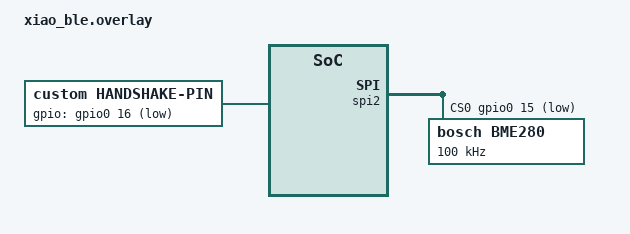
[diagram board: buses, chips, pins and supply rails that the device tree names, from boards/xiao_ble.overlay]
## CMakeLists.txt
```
cmake_minimum_required(VERSION 3.20.0)
find_package(Zephyr REQUIRED HINTS $ENV{ZEPHYR_BASE})

project(nRF_SPI)

find_package(Zephyr REQUIRED HINTS $ENV{ZEPHYR_BASE})
project(gpio_custom_dts_binding)
zephyr_library_include_directories(include)

FILE(GLOB app_sources src/*.c)

target_sources(app PRIVATE
  src/main.c
  src/env_client.c
  src/spi_communication.c
)
```

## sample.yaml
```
sample:
  name: SPI attempt
tests:
  depends_on: gpio
```

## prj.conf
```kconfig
CONFIG_GPIO=y
CONFIG_SPI=y
CONFIG_SERIAL=y
CONFIG_CONSOLE=y
CONFIG_UART_CONSOLE=y
CONFIG_UART_LINE_CTRL=y

CONFIG_NCS_SAMPLES_DEFAULTS=y

CONFIG_HEAP_MEM_POOL_SIZE=16384

CONFIG_BT=y
CONFIG_BT_DEBUG_LOG=y
CONFIG_BT_CENTRAL=y
CONFIG_BT_GATT_CLIENT=y
CONFIG_BT_HRS_CLIENT=y
CONFIG_BT_GATT_DM=y

CONFIG_BT_SCAN=y
CONFIG_BT_SCAN_FILTER_ENABLE=y
CONFIG_BT_SCAN_UUID_CNT=1

CONFIG_BT_CTLR_ADV_EXT=y
CONFIG_BT_CTLR_PHY_CODED=y
CONFIG_BT_CTLR_TX_PWR_ANTENNA=8
CONFIG_BT_EXT_ADV=y
CONFIG_BT_USER_PHY_UPDATE=y

CONFIG_BT_MAX_CONN=20
CONFIG_BT_RX_STACK_SIZE=16384

# USB subsystem configuration
CONFIG_USB_DEVICE_STACK=y
CONFIG_USB_DEVICE_PRODUCT="Zephyr USB Console"
CONFIG_USB_DEVICE_INITIALIZE_AT_BOOT=y
CONFIG_MAIN_STACK_SIZE=8196

CONFIG_BT_SMP=y
CONFIG_BT_SIGNING=y
```

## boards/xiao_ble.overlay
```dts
/*
 * Copyright (c) 2022-2023 Marcin Niestroj
 *
 * SPDX-License-Identifier: Apache-2.0
 */
/ {
    handshake: handshake {
        compatible = "custom,handshake-pin";
        gpios = <&gpio0 16 (GPIO_ACTIVE_LOW | GPIO_PULL_UP)>;
        status = "okay";
    };
};
&spi2 {
	compatible = "nordic,nrf-spim";
	status = "okay";
	pinctrl-0 = <&spi2_default>;
	pinctrl-1 = <&spi2_sleep>;
	pinctrl-names = "default", "sleep";
    cs-gpios = <&gpio0 15 GPIO_ACTIVE_LOW>;
	bme280: bme280@0 {
		compatible = "bosch,bme280";
		reg = <0>;
		spi-max-frequency = <100000>; 
	};
};
&pinctrl {
	spi_master_default: spi_master_default {
		group1 {
			psels = <NRF_PSEL(SPIM_SCK, 1, 13)>,
					<NRF_PSEL(SPIM_MOSI, 1, 15)>,
					<NRF_PSEL(SPIM_MISO, 1, 14)>;
		};
	};

	spi_master_sleep: spi_master_sleep {
		group1 {
			psels = <NRF_PSEL(SPIM_SCK, 1, 13)>,
					<NRF_PSEL(SPIM_MOSI, 1, 15)>,
					<NRF_PSEL(SPIM_MISO, 1, 14)>;
			low-power-enable;
		};
	};
};
```

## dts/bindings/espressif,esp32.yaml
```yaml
description: ESP32-C6 microcontroller

compatible: "espressif,esp32"

include: [sensor-device.yaml, spi-device.yaml]
```

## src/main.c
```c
#include <stdio.h>
#include <string.h>

#include <stdint.h>
#include <zephyr/kernel.h>
#include <zephyr/device.h>

#include <zephyr/devicetree.h>
#include <zephyr/drivers/gpio.h>
#include <zephyr/logging/log.h>
#include <zephyr/drivers/spi.h>
#include <zephyr/sys/printk.h>
#include <zephyr/sys/byteorder.h>
#include <zephyr/sys/mutex.h>
#include <zephyr/drivers/clock_control.h>
#include <zephyr/posix/time.h>
#include <zephyr/bluetooth/bluetooth.h>
#include <zephyr/bluetooth/conn.h>
#include <zephyr/bluetooth/uuid.h>
#include <zephyr/bluetooth/gatt.h>
#include <bluetooth/gatt_dm.h>
#include <bluetooth/scan.h>
#include <zephyr/random/random.h>

#include "env_client.h"  
#include "spi_communication.h"

#define SLEEP_TIME_MS   1000

#define DEVICE_NAME             "Basisstion1"
#define DEVICE_NAME_LEN         (sizeof(DEVICE_NAME) - 1)

#define MAX_CONNECTIONS 20
#define SENSOR_DATA_SIZE 129
#define QUEUE_SIZE 10

#define BT_THREAD_STACK_SIZE 1024
#define SPI_THREAD_STACK_SIZE 1024

#define THREAD_PRIORITY_NOTIFY 5
#define THREAD_PRIORITY_SCAN 5

#define HRS_MEASUREMENT_FLAGS_CONTACT_DETECTED  BIT(1)

//static const struct gpio_dt_spec led = GPIO_DT_SPEC_GET(LED0_NODE, gpios);
//static const struct gpio_dt_spec led1 = GPIO_DT_SPEC_GET(LED1_NODE, gpios);

//static struct bt_conn *default_conn = NULL; 
//static struct bt_conn *default_conn[MAX_CONNECTIONS] = {NULL}; // Array van pointers naar bt_conn

static struct bt_sensorSht_client sht45s_c[MAX_CONNECTIONS];

sys_slist_t conn_list;
int active_connections = 0;


static struct k_mutex conn_mutex;
K_THREAD_STACK_DEFINE(notify_stack_area, BT_THREAD_STACK_SIZE);
struct k_thread notify_thread_data;
k_tid_t notify_tid;

K_THREAD_STACK_DEFINE(bt_thread_stack_area, BT_THREAD_STACK_SIZE);

K_THREAD_STACK_DEFINE(spi_thread_stack_area, SPI_THREAD_STACK_SIZE);

struct spi_data {
	int temperature;
	int humidity;
	int node_id;
	char* counter;
};

K_MSGQ_DEFINE(sensor_data_queue, sizeof(struct spi_data), QUEUE_SIZE, 4);

struct k_thread bt_thread_data;
struct k_thread spi_thread_data;

struct time_data {
	time_t time;
	int64_t uptime;
};

struct conn_node {
    sys_snode_t node;
    struct bt_conn *conn;
};

struct notify_data {
    struct bt_sensorSht_client *sht45s_c;
    struct env_data meas;
    int err;
};



struct time_data current_time = {0, 0};
// bool check_connection_status()
// {
//     if (default_conn != NULL) {
//         return true;
//     } else {
//         return false;
//     }
// }

bool check_connection_status() {
    return active_connections > 0;
}

void add_connection(struct bt_conn *conn) {
    struct conn_node *node = k_malloc(sizeof(struct conn_node));
    if (node) {
        node->conn = bt_conn_ref(conn); //Toevoegen van verwijzing naar de connectie.

        k_mutex_lock(&conn_mutex, K_FOREVER); 
        sys_slist_append(&conn_list, &node->node); 
        active_connections++;
        k_mutex_unlock(&conn_mutex); 

        sys_snode_t *cur; 

        SYS_SLIST_FOR_EACH_NODE(&conn_list, cur) { //for-each loop voor de connectie.
            node = CONTAINER_OF(cur, struct conn_node, node); 
            printk("Connection: [Handle: %p]\n", node->conn);
        }
    
    } else {
        printk("Error: Failed to allocate memory for connection node\n");
    }
}

void remove_connection(struct bt_conn *conn) {
    struct conn_node *node, *tmp;

    k_mutex_lock(&conn_mutex, K_FOREVER);
    SYS_SLIST_FOR_EACH_CONTAINER_SAFE(&conn_list, node, tmp, node) {  
        if (node->conn == conn) {
            sys_slist_find_and_remove(&conn_list, &node->node); //verwijderen van de connectie.
            bt_conn_unref(node->conn); //verwijder de verwijzing naar de connectie.
            k_free(node);
            active_connections--;
            break;
        }
    }
    k_mutex_unlock(&conn_mutex);

    sys_snode_t *cur;

    SYS_SLIST_FOR_EACH_NODE(&conn_list, cur) {
            node = CONTAINER_OF(cur, struct conn_node, node);
            printk("Connection: [Handle: %p]\n", node->conn);
        }
}



char* get_timestamp(int64_t sensor_time, int64_t uptime) {
	char formatted_time[16];
	struct tm *timeinfo;

	int64_t time_difference = sensor_time - current_time.uptime + uptime;
    timeinfo = localtime(&current_time.time);
    timeinfo->tm_sec += (time_difference/1000);
	
    strftime(formatted_time, sizeof(formatted_time), "%Y%m%d%H%M%S", timeinfo); 

    return strdup(formatted_time);
}

void notify_thread(void *p1, void *p2, void *p3) {
    struct notify_data *data = (struct notify_data *)p1;
    char addr[BT_ADDR_LE_STR_LEN];

    if (data == NULL) {
        printk("Error: Invalid measurement data format received\n");
        return;
    }

    // if (!check_connection_status()) {
    //     printk("Error: Connection to Basestation is not active\n");
    //     return;
    // }

    if (data->err) {
        printk("Error during receiving SHT45 sensor Measurement notification, err: %d\n", data->err);
        printk("Received data details:\n");
        printk("\tNode_id: %X\n", data->meas.node_id);
        printk("\tTemperature: %d\n", data->meas.temperature);
        printk("\tHumidity: %d\n", data->meas.humidity);
        printk("\tCounter: %d\n", data->meas.counter);
        return;
    }
	struct spi_data meas;
	meas.temperature = data->meas.temperature;
	meas.humidity = data->meas.humidity;
	meas.node_id = data->meas.node_id;
	//meas.counter = data->meas.counter + data->sht45s_c->time;
	meas.counter = get_timestamp(data->meas.counter, data->sht45s_c->time);
	//data->sht45s_c->time = k_uptime_get();
	//meas.counter = get_timestamp();

	

    printk("SHT45 sensor Measurement notification received:\n\n");
    printk("\tNode_id: %X\n", data->meas.node_id);
    printk("\tTemperature: %d\n", data->meas.temperature);
    printk("\tHumidity: %d\n", data->meas.humidity);
    printk("\tCounter: %d\n", meas.counter);
    printk("\n");

	k_msgq_put(&sensor_data_queue, &meas, K_FOREVER);

    struct conn_node *node;
    SYS_SLIST_FOR_EACH_CONTAINER(&conn_list, node, node) {
        bt_addr_le_to_str(bt_conn_get_dst(node->conn), addr, sizeof(addr));
        printk("See connection: %s\n", addr);
    }

    k_free(data);
}

static void notify_func(struct bt_sensorSht_client *sht45s_c, const struct env_data *meas, int err) {
    struct notify_data *data = k_malloc(sizeof(struct notify_data));
    if (!data) {
        printk("Error: Failed to allocate memory for notify data\n");
        return;
    }

    data->sht45s_c = sht45s_c;
    data->meas = *meas;
    data->err = err;

    k_thread_create(&notify_thread_data, notify_stack_area, K_THREAD_STACK_SIZEOF(notify_stack_area),
                    notify_thread, data, NULL, NULL, THREAD_PRIORITY_NOTIFY, 0, K_NO_WAIT);
}

static void discover_sht45s_completed(struct bt_gatt_dm *dm, void *ctx) {
    int err;
    struct bt_sensorSht_client *sht45_client = ctx;

    printk("The discovery procedure succeeded\n");
    bt_gatt_dm_data_print(dm); // print discovery data

    err = bt_sht45s_client_handles_assign(dm, sht45_client); // assign handles
    if (err) {
        printk("Could not init SHT45S client object (err %d)\n", err);
        return;
    }

//abonnneer op metingen
    err = bt_sht45s_client_measurement_subscribe(sht45_client, notify_func, k_uptime_get()); 
    if (err && err != -EALREADY) {
        printk("Subscribe failed (err %d)\n", err);
    } else {
        printk("[SUBSCRIBED]\n");
    }

    k_sleep(K_SECONDS(2));


     // Send a value to the RTI characteristic
    err = bt_sht45s_client_write_rti(sht45_client, 33); // Send a value to the RTI characteristic.
    if (err) {
        printk("Failed to write to RTI characteristic: %d", err);
        return;
    }

//om geheugen lekken te voorkomen
    err = bt_gatt_dm_data_release(dm);
    if (err) {
        printk("Could not release the discovery data (err %d)\n", err);
    }

//kijk of er nog andere services zijn
    err = bt_gatt_dm_continue(dm, NULL); 
    if (err) {
        printk("Could not continue the discovery procedure (err %d)\n", err);
    }



    err = bt_scan_start(BT_SCAN_TYPE_SCAN_ACTIVE);
    if (err) {
        printk("Scanning failed to start (err %d)\n", err);
    }
}

static void discover_sht45s_service_not_found(struct bt_conn *conn, void *ctx)
{
	printk("No more services\n");
}

static void discover_sht45s_error_found(struct bt_conn *conn, int err, void *ctx)
{
	printk("The discovery procedure failed, err %d\n", err);
}

static struct bt_gatt_dm_cb discover_sht45s_cb = {
	.completed = discover_sht45s_completed,
	.service_not_found = discover_sht45s_service_not_found,
	.error_found = discover_sht45s_error_found,
};

static void scan_filter_match(struct bt_scan_device_info *device_info,
			      struct bt_scan_filter_match *filter_match,
			      bool connectable)
{
	int err = 0;
	char addr[BT_ADDR_LE_STR_LEN];
	struct bt_conn_le_create_param *conn_params;
	int ref = 0;

	bt_addr_le_to_str(device_info->recv_info->addr, addr, sizeof(addr));

	printk("Filters matched. Address: %s connectable: %s\n",
		addr, connectable ? "yes" : "no");

	conn_params = BT_CONN_LE_CREATE_PARAM(
			BT_CONN_LE_OPT_CODED | BT_CONN_LE_OPT_NO_1M,
			BT_GAP_SCAN_FAST_INTERVAL,
			BT_GAP_SCAN_FAST_INTERVAL);

	err = bt_scan_stop();
	if (err) {
		printk("Stop LE scan failed (err %d)\n", err);
	}


	for (int i = 0; i < MAX_CONNECTIONS; i++) {
        if (sht45s_c[i].conn == NULL) {
			ref = i;
			break;
		}
	}

	err = bt_conn_le_create(device_info->recv_info->addr, conn_params,
							BT_LE_CONN_PARAM_DEFAULT,
							&sht45s_c[ref].conn);

	// for (int i = 0; i < MAX_CONNECTIONS; i++) {
	// 	printk("i = %d\n", i);
	// 	if (sht45s_c[i].conn == NULL) {
	// 		sht45s_c[i].conn = conn;
	// 		break;
	// 	}
	// }

	if (err) {
		printk("Create conn failed (err %d)\n", err);
	}

	else {
		err = bt_scan_start(BT_SCAN_TYPE_SCAN_ACTIVE);
		if (err) {
			printk("Scanning failed to start (err %d)\n", err);
    	}
		return;
	}
	printk("Connection pending\n");
}

BT_SCAN_CB_INIT(scan_cb, scan_filter_match, NULL, NULL, NULL);

static void scan_init(void)
{
	int err;

	/* Use active scanning and disable duplicate filtering to handle any
	 * devices that might update their advertising data at runtime. */
	struct bt_le_scan_param scan_param = {
		.type     = BT_LE_SCAN_TYPE_ACTIVE,
		.interval = BT_GAP_SCAN_FAST_INTERVAL,
		.window   = BT_GAP_SCAN_FAST_WINDOW,
		.options  = BT_LE_SCAN_OPT_CODED | BT_LE_SCAN_OPT_NO_1M
	};

	struct bt_scan_init_param scan_init = {
		.connect_if_match = 0,
		.scan_param = &scan_param,
		.conn_param = NULL
	};

	bt_scan_init(&scan_init);
	bt_scan_cb_register(&scan_cb);

	err = bt_scan_filter_add(BT_SCAN_FILTER_TYPE_UUID, BT_UUID_ESS);
	if (err) {
		printk("Scanning filters cannot be set (err %d)\n", err);
		return;
	}

	err = bt_scan_filter_enable(BT_SCAN_UUID_FILTER, false);
	if (err) {
		printk("Filters cannot be turned on (err %d)\n", err);
	}
}

static void connected(struct bt_conn *conn, uint8_t conn_err)
{
	int err;
	struct bt_conn_info info;
	char addr[BT_ADDR_LE_STR_LEN];

	bt_addr_le_to_str(bt_conn_get_dst(conn), addr, sizeof(addr));

	if (conn_err) {
		printk("Failed to connect to %s (%u)\n", addr, conn_err);

		// for (int i = 0; i < MAX_CONNECTIONS; i++) {
		// 	if (default_conn[i] == conn) {
		// 		bt_conn_unref(default_conn[i]);
		// 		default_conn[i] = NULL;
		// 		break;
		// 	}
		// }
		// return;
	}

	err = bt_conn_get_info(conn, &info);
	if (err) {
		printk("Failed to get connection info (err %d)\n", err);
	} else {
		const struct bt_conn_le_phy_info *phy_info;

		phy_info = info.le.phy;
		printk("Connected: %s, tx_phy %u, rx_phy %u\n",
				addr, phy_info->tx_phy, phy_info->rx_phy);
	}



	for (int i = 0; i < MAX_CONNECTIONS; i++) {
        if (sht45s_c[i].conn == NULL) {
			sht45s_c[i].conn = conn;
			bt_sht45s_client_init(&sht45s_c[i]);
			err = bt_gatt_dm_start(conn, BT_UUID_ESS, &discover_sht45s_cb, &sht45s_c[i]);
			if (err) {
				printk("Failed to start discovery (err %d)\n", err);
			}
			break;
		}
	}
	// if (conn == default_conn[ref]) {
	// 	err = bt_gatt_dm_start(conn, BT_UUID_ESS, &discover_sht45s_cb, NULL);
	// 	if (err) {
	// 		printk("Failed to start discovery (err %d)\n", err);
	// 	}
	// }
	
}

static void disconnected(struct bt_conn *conn, uint8_t reason)
{
	int err;
	char addr[BT_ADDR_LE_STR_LEN];

	bt_addr_le_to_str(bt_conn_get_dst(conn), addr, sizeof(addr));

	printk("Disconnected: %s (reason 0x%02x)\n", addr, reason);

	for (int i = 0; i < MAX_CONNECTIONS; i++) {
        if (sht45s_c[i].conn  == conn) {
			bt_sht45s_client_measurement_unsubscribe(&sht45s_c[i]);
            bt_conn_unref(sht45s_c[i].conn);
            sht45s_c[i].conn = NULL;
            break;
        }
    }
	err = bt_scan_start(BT_SCAN_TYPE_SCAN_ACTIVE);
	if (err) {
		printk("Scanning failed to start (err %d)\n", err);
    }
}

BT_CONN_CB_DEFINE(conn_callbacks) = {
	.connected = connected,
	.disconnected = disconnected,
};

int ble_enable(void)
{
	int err;

	printk("Starting Bluetooth Central sht45s\n");

	err = bt_enable(NULL);
	if (err) {
		printk("Bluetooth init failed (err %d)\n", err);
		return 0;
	}

	printk("Bluetooth initialized\n");

	for (int i = 0; i < MAX_CONNECTIONS; i++) {
		sht45s_c[i].conn = NULL;  // Initialize the connection pointer to NULL
		// Initialize other fields as necessary
	}

	// err = bt_sht45s_client_init(&sht45s_c);
	// if (err) {
	// 	printk("SHT45 sensor Service client failed to init (err %d)\n", err);
	// 	return 0;
	// }

	scan_init();

	err = bt_scan_start(BT_SCAN_TYPE_SCAN_ACTIVE);
	if (err) {
		printk("Scanning failed to start (err %d)\n", err);
		return 0;
	}   
    printk("Scanning successfully started\n");
    return 1;
}

void convert_time(char *timestamp)
{
	int year, month, day, hour, minute, second;
	struct tm timeinfo;
	if (sscanf(timestamp, "%4d%2d%2d%2d%2d%2d", &year, &month, &day, &hour, &minute, &second) == 6) {// tm_year is years since 1900
		timeinfo.tm_year = year - 1900;
		// tm_mon is 0-based, January is 0
		timeinfo.tm_mon = month - 1;
		timeinfo.tm_mday = day;
		timeinfo.tm_hour = hour;
		timeinfo.tm_min = minute;
		timeinfo.tm_sec = second;
		// Set this to -1 to tell mktime() to determine whether DST is in effect
		timeinfo.tm_isdst = -1;
	}
	current_time.time = mktime(&timeinfo);
	current_time.uptime = k_uptime_get();
	//time(&t);
    //localtime_r(&now, &timeinfo);
	//print the time_t as a string
	
}

void bluetooth_thread(void *unused1, void *unused2, void *unused3)
{
	struct env_data data;
	data.temperature = 1553;
	data.humidity = 7813;
	data.node_id = 1847;
	data.counter = 100;
    while (1) { 
		k_sleep(K_MSEC(60000));
		k_msgq_put(&sensor_data_queue, &data, K_FOREVER);
		//get_current_time_char();
    }
}

void spi_thread(void *unused1, void *unused2, void *unused3)
{
	uint8_t recvbuf[129];
	struct spi_data data;
	int ret;
	uint8_t counter[16];
    ret = spi_init();
    printk("SPI INIT ERROR %d\n", ret);
	while(1){

		if (k_msgq_get(&sensor_data_queue, &data, K_SECONDS(1))==0){
			sprintf(counter, "%s", data.counter);
			spi_data(data.temperature, data.humidity, data.node_id, "camu", counter, recvbuf);
			spi_sync("SYNC", recvbuf);
			if (strcmp(recvbuf, "DATA_OK") == 0) {
				printk("Data: %s\n", recvbuf);
			}
		}
		else{
			spi_sync("SYNC", recvbuf);
			if (strcmp(recvbuf, "TIME_SYNC") == 0) {
				spi_sync("TIME_SYNC", recvbuf);
				if (strlen(recvbuf) == 9) {
					spi_sync("TIME_OK", recvbuf);
					convert_time(recvbuf);
				}
			}
		}


		//handshake_toggled(data.temperature, data.humidity, data.node_id);
	}
}

int main(void)
{
    int err;

	
	k_mutex_init(&conn_mutex);

    err = bt_enable(NULL);
    if (err) {
        printk("Bluetooth init failed (err %d)\n", err);
        return 0;
    }

    // k_thread_create(&bt_thread_data, bt_thread_stack_area,
    //                                        K_THREAD_STACK_SIZEOF(bt_thread_stack_area),
    //                                        bluetooth_thread,
    //                                        NULL, NULL, NULL,
    //                                        1, 0, K_NO_WAIT);

    // Start SPI thread
    k_thread_create(&spi_thread_data, spi_thread_stack_area,
                                            K_THREAD_STACK_SIZEOF(spi_thread_stack_area),
                                            spi_thread,
                                            NULL, NULL, NULL,
                                            2, 0, K_NO_WAIT);

    err = bt_sht45s_client_init(sht45s_c);
    if (err) {
        printk("SHT45 sensor Service client failed to init (err %d)\n", err);
        return 0;
    }

    scan_init();

    err = bt_scan_start(BT_SCAN_TYPE_SCAN_ACTIVE);
    if (err) {
        printk("Scanning failed to start (err %d)\n", err);
        return 0;
    }

    printk("Scanning successfully started\n");

    return 0;

}
```

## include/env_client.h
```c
/*
 * Copyright (c) 2021 Nordic Semiconductor
 *
 * SPDX-License-Identifier: LicenseRef-Nordic-5-Clause
 */

#ifndef BT_HRS_CLIENT_H_
#define BT_HRS_CLIENT_H_

/**
 * @file
 * @defgroup bt_hrs_client sht45 Service Client
 * @{
 * @brief Sht45 Service Client API.
 */

#include <zephyr/bluetooth/conn.h>
#include <bluetooth/gatt_dm.h>
#include <zephyr/bluetooth/gatt.h>

#include <zephyr/sys/atomic.h>

#ifdef __cplusplus
extern "C" {
#endif

/**@brief Sht45 sensor Service error codes
 *
 * This service defines the following Attribute Protocol Application error codes.
 */
enum bt_hrs_client_error {
	/** Control Point value not supported. */
	BT_HRS_CLIENT_ERROR_CP_NOT_SUPPORTED = 0x80
};


/**@brief Sht45 Measurement flags structure.
 */
struct bt_sensor_flags {
	/** Value Format flag. */
	uint8_t value_format : 1;

	/** Sensor Contact detected flag. */
	uint8_t sensor_contact_detected : 1;

	/** Sensor Contact supported flag. */
	uint8_t sensor_contact_supported : 1;

	/** Energy Expended preset flag. */
	uint8_t energy_expended_present : 1;

	/** RR-intervals present flag. */
	uint8_t rr_intervals_present : 1;
};


struct bt_buf {
    uint8_t *data;
    uint16_t len;
};

struct bt_hrs_flags {
	/** Value Format flag. */
	uint8_t value_format : 1;

	/** Sensor Contact detected flag. */
	uint8_t sensor_contact_detected : 1;

	/** Sensor Contact supported flag. */
	uint8_t sensor_contact_supported : 1;

	/** Energy Expended preset flag. */
	uint8_t energy_expended_present : 1;

	/** RR-intervals present flag. */
	uint8_t rr_intervals_present : 1;
};

struct env_data {
	/** Flags structure. */
	struct bt_sensor_flags flags;

	/** RR-intervals count. */
	//uint8_t rr_intervals_count;

	/** RR-intervals represented by 1/1024 second as unit. Present if
	 * @ref bt_hrs_flags.rr_intervals_present is set. The interval with index 0 is older than
	 * the interval with index 1.
	 */
	uint16_t rr_intervals[10];

    int16_t temperature;
    uint16_t humidity;
	uint16_t node_id;
	uint64_t counter;
};


struct sensor_data {
    uint8_t node_id;
    // Voeg hier andere benodigde gegevens toe
};


/**@brief Data structure of the Sensor Measurement characteristic.
 */
struct bt_sensor_client_measurement {
	/** Flags structure. */
	struct bt_sensor_flags flags;

	/** RR-intervals count. */
	uint8_t rr_intervals_count;

	/** RR-intervals represented by 1/1024 second as unit. Present if
	 * @ref bt_hrs_flags.rr_intervals_present is set. The interval with index 0 is older than
	 * the interval with index 1.
	 */
	uint16_t rr_intervals[CONFIG_BT_HRS_CLIENT_RR_INTERVALS_COUNT];  //CONFIG_BT_HRS_CLIENT_RR_INTERVALS_COUNT

	/** Sensor Measurement Value in beats per minute unit. */
	uint16_t sensor_value;

	/** Energy Expended in joule unit. Present if @ref bt_hrs_flags.energy_expended_present
	 * is set.
	 */
	uint16_t energy_expended;
};

/* Helper forward structure declaration representing Sensor Service Client instance.
 * Needed for callback declaration that are using instance structure as argument.
 */
struct bt_sensorSht_client;



/**@brief Sht45 Measurement notification callback.
 *
 * This function is called every time the client receives a notification
 * with sht45 Measurement data.
 *
 * @param[in] hrs_c sht45 Service Client instance.
 * @param[in] meas sht45 Measurement received data.
 * @param[in] err 0 if the notification is valid.
 *                Otherwise, contains a (negative) error code.
 */


typedef void (*bt_sht45s_client_notify_cb)(struct bt_sensorSht_client *sht45s_c, const struct env_data *meas, int err);


/**@brief SensorSht45 Measurement characteristic structure.
 */
struct bt_sensorSht_client_meas {
    /** Value handle. */
	uint16_t handle;

	/** Handle of the characteristic CCC descriptor. */
	uint16_t ccc_handle;

	/** GATT subscribe parameters for notification. */
	struct bt_gatt_subscribe_params notify_params;

    /** Notification callback. */
	bt_sht45s_client_notify_cb notify_cb;

};

/**@brief Sht45 Service Client instance structure.
 *        This structure contains status information for the client.
 */
struct bt_sensorSht_client {
    struct bt_conn *conn;

	struct k_work pairing_work;

    struct {
        struct bt_gatt_subscribe_params notify_params;
        uint16_t handle;
        uint16_t ccc_handle;
        void (*notify_cb)(struct bt_sensorSht_client *sht45s_c, const struct env_data *meas, int err);
    } measurement_char;

    struct {
        uint16_t handle;
    } rti_char;
	int64_t time;
    atomic_t state;
};

/**@brief Function for initializing the sht45 Service Client.
 *
 * @param[in, out] hrs_c sht45 Service Client instance. This structure must be
 *                       supplied by the application. It is initialized by
 *                       this function and will later be used to identify
 *                       this particular client instance.
 *
 * @retval 0 If the client was initialized successfully.
 *           Otherwise, a (negative) error code is returned.
 */
int bt_sht45s_client_init(struct bt_sensorSht_client *sht45s_c);

/**@brief Subscribe to sht45 Measurement notification.
 *
 * This function writes CCC descriptor of the sht45 Measurement characteristic
 * to enable notification.
 *
 * @param[in] hrs_c sht45 Service Client instance.
 * @param[in] notify_cb   Notification callback.
 *
 * @retval 0 If the operation was successful.
 *           Otherwise, a (negative) error code is returned.
 */
int bt_sht45s_client_measurement_subscribe(struct bt_sensorSht_client *sht45s_c, bt_sht45s_client_notify_cb notify_cb, int64_t time);


/**@brief Remove subscription to the sht45 Measurement notification.
 *
 * This function writes CCC descriptor of the sht45 Measurement characteristic
 * to disable notification.
 *
 * @param[in] hrs_c sht45 Service Client instance.
 *
 * @retval 0 If the operation was successful.
 *           Otherwise, a (negative) error code is returned.
 */
int bt_sht45s_client_measurement_unsubscribe(struct bt_sensorSht_client *sht45s_c);



/**@brief Function for assigning handles to sht45 Service Client instance.
 *
 * @details Call this function when a link has been established with a peer to
 *          associate the link to this instance of the module. This makes it
 *          possible to handle several links and associate each link to a particular
 *          instance of this module.
 *
 * @param[in]     dm     Discovery object.
 * @param[in,out] hrs_c  sht45 Service Client instance for associating the link.
 *
 * @retval 0 If the operation is successful.
 *           Otherwise, a (negative) error code is returned.
 */
int bt_sht45s_client_handles_assign(struct bt_gatt_dm *dm, struct bt_sensorSht_client *sht45s_c);


int bt_sht45s_client_rti_handles_assign(struct bt_gatt_dm *dm, struct bt_sensorSht_client *sht45s_c); 

int bt_sht45s_client_write_rti(struct bt_sensorSht_client *sht45s_c, uint8_t value);


#ifdef __cplusplus
}
#endif

/**
 *@}
 */

#endif /* BT_HRS_CLIENT_H_ */
```

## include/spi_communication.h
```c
#ifndef SPI_COMMUNICATION_H
#define SPI_COMMUNICATION_H

#include <stdint.h>

#ifdef __cplusplus
extern "C" {
#endif

#define LED0_NODE DT_ALIAS(led0)
#define LED1_NODE DT_ALIAS(led1)
#define HANDSHAKE DT_NODELABEL(handshake)
#define SPI DT_NODELABEL(spi0)


#define CONFIG_SPI_CS_CTRL_GPIO_PIN 15

#define SPIOP	SPI_WORD_SET(8) | SPI_OP_MODE_MASTER


void spi_ctrl_transmit(uint8_t *data, uint8_t *recvbuf);
void spi_data(int16_t temperature, uint16_t humidity, uint32_t node_id, uint8_t *camu, uint8_t *timestamp, uint8_t *recvbuf);
void spi_sync(uint8_t *sendbuf, uint8_t *recvbuf);
int spi_init(void);

#ifdef __cplusplus
}
#endif


#endif // SPI_COMMUNICATION_H
```

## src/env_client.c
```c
/*
 * Copyright (c) 2021 Nordic Semiconductor ASA
 *
 * SPDX-License-Identifier: LicenseRef-Nordic-5-Clause
 */
#include "env_client.h"  
#include <zephyr/sys/util.h>
#include <zephyr/sys/byteorder.h>

#include <zephyr/logging/log.h>


LOG_MODULE_REGISTER(sht45s_client, CONFIG_BT_HRS_CLIENT_LOG_LEVEL);

#define SHTSENSOR_MEASUREMENT_NOTIFY_ENABLED BIT(0)
#define HRS_MEASUREMENT_READ_IN_PROGRES BIT(1)
#define HRS_SENSOR_LOCATION_READ_IN_PROGRES BIT(2)
#define HRS_CONTROL_POINT_WRITE_PENDING BIT(3)

#define HRS_MEASUREMENT_FLAGS_VALUE_FORMAT      BIT(0)
#define HRS_MEASUREMENT_FLAGS_CONTACT_DETECTED  BIT(1)
#define HRS_MEASUREMENT_FLAGS_CONTACT_SUPPORTED BIT(2)
#define HRS_MEASUREMENT_FLAGS_ENERGY_EXPENDED   BIT(3)
#define HRS_MEASUREMENT_FLAGS_RR_INTERVALS      BIT(4)


//struct k_sem write_sem;		//voor de synchroonisatie. Gebruikt in bt_sht45s_client_write_measurement


static inline bool data_length_check(uint16_t current, uint16_t min_expected)
{
	return (current >= min_expected);
}

static void sht45s_reinit(struct bt_sensorSht_client *sht45s_c)
{
	sht45s_c->measurement_char.handle = 0;
	sht45s_c->measurement_char.ccc_handle = 0;
	sht45s_c->measurement_char.notify_cb = NULL;
	sht45s_c->rti_char.handle = 0;
	//sht45s_c->uptime= 0;
	sht45s_c->conn = NULL;
	sht45s_c->state = ATOMIC_INIT(0);
}


static int sht45s_measurement_data_parse(struct env_data *data, const uint8_t *data_array, uint16_t length)
{
  
    if (data_array == NULL || data == NULL) {
        return -EINVAL;
    }

    if (data_array[0] < 8) {
        return -EMSGSIZE; 
    }

    uint16_t humidity_value  = (data_array[1] << 8 | data_array[0]);
    
    int16_t temperature_value  = (data_array[3] << 8 | data_array[2]); 
   
	uint16_t node_id = (data_array[7] << 24 | data_array[6] << 16| data_array[5] << 8| data_array[4]);

	int16_t counter_value = (data_array[9] << 8 | data_array[8]);

	data->node_id = node_id;
	data->humidity = humidity_value;
	data->temperature = temperature_value;
	data->counter = counter_value;
    return 0;
}


static uint8_t on_sht45s_measurement_notify(struct bt_conn *conn,
					 struct bt_gatt_subscribe_params *params,
					 const void *data, uint16_t length)
{
	int err;
	struct bt_sensorSht_client *sht45s_c;
    struct env_data received_data;

	sht45s_c = CONTAINER_OF(params, struct bt_sensorSht_client, measurement_char.notify_params);

	if (!data) {
		atomic_clear_bit(&sht45s_c->state, SHTSENSOR_MEASUREMENT_NOTIFY_ENABLED);
		LOG_DBG("[UNSUBSCRIBE] from sensor Measurement characterictic");

		return BT_GATT_ITER_STOP;
	}

	LOG_HEXDUMP_DBG(data, length, "[NOTIFICATION] sensor Measurement: ");


	err = sht45s_measurement_data_parse(&received_data, data, length);

	if (sht45s_c->measurement_char.notify_cb) {
		sht45s_c->measurement_char.notify_cb(sht45s_c, &received_data, err);
	}

	return BT_GATT_ITER_CONTINUE;
}



//Na het toewijzen van de handles, abonneert de functie zich op meldingen van de sensor. Dit betekent dat de client meldingen zal ontvangen wanneer de sensor nieuwe gegevens heeft.
int bt_sht45s_client_measurement_subscribe(struct bt_sensorSht_client *sht45s_c,
					bt_sht45s_client_notify_cb notify_cb, int64_t time)           //deze functie wordt gebruikt om de functie 'on_sht45s_measurement_notify' aan te roepen.              
{

	int err;
	struct bt_gatt_subscribe_params *params = &sht45s_c->measurement_char.notify_params; //is een structuur in de Bluetooth GATT API die parameters bevat voor het abonneren op meldingen of indicaties van een kenmerk.

	if (!sht45s_c || !notify_cb) {
		return -EINVAL;
	}

	if (atomic_test_and_set_bit(&sht45s_c->state, SHTSENSOR_MEASUREMENT_NOTIFY_ENABLED)) {	//kijkt of er al een notificatie is geactiveerd.
		LOG_ERR("Sensor Measurement characterisic notifications already enabled.");
		return -EALREADY;
	}

	sht45s_c->measurement_char.notify_cb = notify_cb;//deze functie wordt gebruikt om de functie 'on_sht45s_measurement_notify' aan te roepen. 	
	sht45s_c->time = time;

	params->ccc_handle = sht45s_c->measurement_char.ccc_handle; //krijgt de handle van de CCC
	params->value_handle = sht45s_c->measurement_char.handle; //krijgt de handle van de sensor
	params->value = BT_GATT_CCC_NOTIFY; //krijgt de notificatie aan 
	params->notify = on_sht45s_measurement_notify;
	
	atomic_set_bit(params->flags, BT_GATT_SUBSCRIBE_FLAG_VOLATILE); 

	err = bt_gatt_subscribe(sht45s_c->conn, params); //if the no
	if (err) {
		atomic_clear_bit(&sht45s_c->state, SHTSENSOR_MEASUREMENT_NOTIFY_ENABLED);
		LOG_ERR("Subscribe to sensor Measurement characteristic failed");
	} else {
		LOG_DBG("Subscribed to sensor Measurement characteristic");
	}

	return err;
}

int bt_sht45s_client_measurement_unsubscribe(struct bt_sensorSht_client *sht45s_c)
{
	int err;

	if (!sht45s_c) {
		return -EINVAL;
	}

	if (!atomic_test_bit(&sht45s_c->state, SHTSENSOR_MEASUREMENT_NOTIFY_ENABLED)) {
		return -EFAULT;
	}

	err = bt_gatt_unsubscribe(sht45s_c->conn, &sht45s_c->measurement_char.notify_params);
	if (err) {
		LOG_ERR("Unsubscribing from sensor Measurement characteristic failed, err: %d",
			err);
	} else {
		atomic_clear_bit(&sht45s_c->state, SHTSENSOR_MEASUREMENT_NOTIFY_ENABLED);
		LOG_DBG("Unsubscribed from sensor Measurement characteristic");
	}

	return err;
}


//Zodra de ontdekking succesvol is voltooid wijst deze functie de GATT-handles toe aan de clientstructuur
/*
Dit proces van handle toewijzing is essentieel omdat het de verwijzingen naar specifieke kenmerken en services 
in het GATT-profiel van Bluetooth koppelt aan de juiste attributen in de code. Tijdens de serviceontdekking worden 
kenmerken en descriptors geïdentificeerd door hun UUID's. Deze worden vervolgens gekoppeld aan specifieke velden 
in de bt_sensorSht_client (sht45s_c) structuur. Hierdoor kan de code later met deze kenmerken communiceren, zoals het lezen 
van waarden of het abonneren op meldingen
*/
int bt_sht45s_client_handles_assign(struct bt_gatt_dm *dm, struct bt_sensorSht_client *sht45s_c) //This function assigns handles to the SHT45 sensor service door geïdentificeerde UUID's te gebruiken in de structuur.
{
	//bt_gatt_dm_attr = Discovery Manager GATT attribute This structure is used to hold GATT attribute information
	const struct bt_gatt_dm_attr *gatt_service_attr =
			bt_gatt_dm_service_get(dm);
	const struct bt_gatt_service_val *gatt_service =
			bt_gatt_dm_attr_service_val(gatt_service_attr);
	const struct bt_gatt_dm_attr *gatt_chrc;
	const struct bt_gatt_dm_attr *gatt_desc;

//Controleer of de pointers geldig zijn en of de service UUID overeenkomt met de verwachte Environmental Sensing Service (ESS) UUID.
	if (!dm || !sht45s_c) {
		return -EINVAL;
	}

	if (bt_uuid_cmp(gatt_service->uuid, BT_UUID_ESS)) {   
		return -ENOTSUP;
	}
	LOG_DBG("Getting handles from SHT45 sensor service.");

//structuur opnieuw om ervoor te zorgen dat alle waarden correct zijn ingesteld.
	sht45s_reinit(sht45s_c);


//Zoek naar de temperatuurkarakteristiek in de GATT-database.
	gatt_chrc = bt_gatt_dm_char_by_uuid(dm, BT_UUID_TEMPERATURE);
	if (!gatt_chrc) {
		LOG_ERR("No sensorSHT45 characteristic found.");
		return -EINVAL;
	}

//Haal de handle op voor de temperatuurkarakteristiek en sla deze op in de sht45s_c structuur.
    gatt_desc = bt_gatt_dm_desc_by_uuid(dm, gatt_chrc,
					    BT_UUID_TEMPERATURE);
	if (!gatt_desc) {
		LOG_ERR("No sensorSHT45 characteristic value found.");
		return -EINVAL;
	}
	sht45s_c->measurement_char.handle = gatt_desc->handle;

	gatt_desc = bt_gatt_dm_desc_by_uuid(dm, gatt_chrc, BT_UUID_GATT_CCC);
	if (!gatt_desc) {
		LOG_ERR("No SHT45 Measurement CCC descriptor found.");
		return -EINVAL;
	}

	sht45s_c->measurement_char.ccc_handle = gatt_desc->handle;

	LOG_DBG("SHT45 Measurement characteristic found");


	// Get RTI characteristic
    gatt_chrc = bt_gatt_dm_char_by_uuid(dm, BT_UUID_GATT_RTI);
    if (!gatt_chrc) {
        LOG_ERR("No RTI characteristic found.");
        return -EINVAL;
    }

    gatt_desc = bt_gatt_dm_desc_by_uuid(dm, gatt_chrc, BT_UUID_GATT_RTI);
    if (!gatt_desc) {
        LOG_ERR("No RTI characteristic value found.");
        return -EINVAL;
    }
    sht45s_c->rti_char.handle = gatt_desc->handle;

    LOG_DBG("RTI characteristic found");

	/* Finally - save connection object */
	sht45s_c->conn = bt_gatt_dm_conn_get(dm);

	return 0;
}



int bt_sht45s_client_write_rti(struct bt_sensorSht_client *sht45s_c, uint8_t value) {
    int err;

    if (!sht45s_c || !sht45s_c->conn) {
        return -EINVAL;
    }

    // Check if the characteristic handle is valid
    if (!sht45s_c->rti_char.handle) {
        LOG_ERR("RTI characteristic handle is not valid.");
        return -EINVAL;
    }

	//k_sem_take(&write_sem, K_FOREVER);  // Take the semaphore to prevent concurrent writes 		k_work gebruiken??

    err = bt_gatt_write_without_response(sht45s_c->conn, sht45s_c->rti_char.handle, &value, sizeof(value), false);
    if (err) {
        LOG_ERR("Failed to write to RTI characteristic (err %d)", err);
		//k_sem_give(&write_sem);  // Give the semaphore back in case of error
        return err;
    }

    LOG_DBG("Written value %d to RTI characteristic", value);

	//k_sem_give(&write_sem);  // Give the semaphore back
    return 0;
}


int bt_sht45s_client_init(struct bt_sensorSht_client *sht45s_c)
{
	if (!sht45s_c) {
		return -EINVAL;
	}

	memset(sht45s_c, 0, sizeof(*sht45s_c));

	return 0;
}





// uint8_t calculate_crc(const uint8_t *data, uint8_t length) {
//     uint8_t crc = 0xFF; // Startwaarde voor CRC-berekening
//     for (uint8_t i = 0; i < length; i++) {
//         crc ^= data[i]; // XOR-bewerking uitvoeren op elk byte
//     }
//     return crc; // Retourneren van de berekende CRC-waarde
// }
```

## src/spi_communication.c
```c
#include <stdio.h>

#include <zephyr/kernel.h>
#include <zephyr/device.h>
#include <zephyr/devicetree.h>
#include <zephyr/drivers/gpio.h>
#include <zephyr/logging/log.h>
#include <zephyr/drivers/spi.h>
#include <zephyr/sys/printk.h>
#include <zephyr/sys/byteorder.h>
#include <zephyr/sys/mutex.h>

#include  "env_client.h"
#include "spi_communication.h"

#define SLEEP_TIME_MS   1000

#if !DT_NODE_EXISTS(HANDSHAKE)
#error "Overlay for handshake node not properly defined."
#endif



static struct gpio_dt_spec handshake = GPIO_DT_SPEC_GET_OR(HANDSHAKE, gpios, {0});
// static const struct gpio_dt_spec cs = GPIO_DT_SPEC_GET(CS, gpios);

struct spi_dt_spec spispec = SPI_DT_SPEC_GET(DT_NODELABEL(esp32), SPIOP, 10);

int n = 0;

// typedef struct spi_sensor_data {
//     int id;
//     char *sens;
//     int temp; 
//     int hum;
//     char *camu;
//     char *timestamp;
// } spi_sensor_data;


void spi_ctrl_transmit(uint8_t *sendbuf, uint8_t *recvbuf)
{
	int err;
    struct spi_buf tx_buf = {
        .buf = sendbuf,
        .len = 129
    }; 

    struct spi_buf rx_buf = {
        .buf = recvbuf,
        .len = 129
    };

    struct spi_buf_set tx_bufs = {
        .buffers = &tx_buf,
        .count = 1
    };

    struct spi_buf_set rx_bufs = {
        .buffers = &rx_buf,
        .count = 1
    };
    printk("Sending: %s\n", sendbuf); 
	err = spi_transceive(spispec.bus, &spispec.config, &tx_bufs, &rx_bufs);
	if (err < 0) {
		printk("spi_ctrl_transmit: Error on %d\n", err);
	}
    printk("Received: %s\n", recvbuf);
}


void spi_data(int16_t temperature, uint16_t humidity, uint32_t node_id, uint8_t *camu, uint8_t *timestamp, uint8_t *recvbuf)
{
    n++;
    uint8_t sendbuf[129];
    snprintf((char *)sendbuf, sizeof(sendbuf), 
        "\"ID\":\"%d\",\"SENS\":\"%X\",\"CAMU\":\"%s\",\"TEMP\":%d,\"HUM\":%d,\"TIMESTAMP\":\"%s\"",
       n, node_id, camu , temperature, humidity, timestamp);
    //memcpy(recvbuf, sendbuf, strlen((char *)sendbuf) + 1);
    while(1){
        if (gpio_pin_get_dt(&handshake)==0) {
            spi_ctrl_transmit(sendbuf, recvbuf);
            break;
        }
    }
}

void spi_sync(uint8_t *sendbuf, uint8_t *recvbuf)
{
    //uint8_t sendbuf[129] =  "SYNC";
    //memcpy(recvbuf, sendbuf, strlen((char *)sendbuf) + 1);
    while(1){
        if (gpio_pin_get_dt(&handshake)==0) {
            spi_ctrl_transmit(sendbuf, recvbuf);
            break;
        }
    }
}

int spi_init(void)
{
    int ret;
    struct spi_cs_control spi_cs = { 
        .gpio = GPIO_DT_SPEC_GET(SPI, cs_gpios),
        .delay = 1,
    };


    printk("%s", spi_cs.gpio.port->name);
    
    spispec.config.cs = spi_cs;
    spispec.config.slave = 0;
    spispec.config.frequency = 5000000;

    if (!gpio_is_ready_dt(&handshake)) {
        return 1;
    }

    ret = gpio_pin_configure_dt(&handshake, GPIO_INPUT);
    if (ret < 0) 
    {
        printk("gpio_pin_configure_dt %d Error on %s", ret, handshake.port->name);
        return 2;
    }

    ret = spi_is_ready_dt(&spispec);
    if (ret < 0) 
    {
        printk("gpio_add_callback %d Error on %s", ret, handshake.port->name);
        return 5;
    }
    return 0;
}
```
